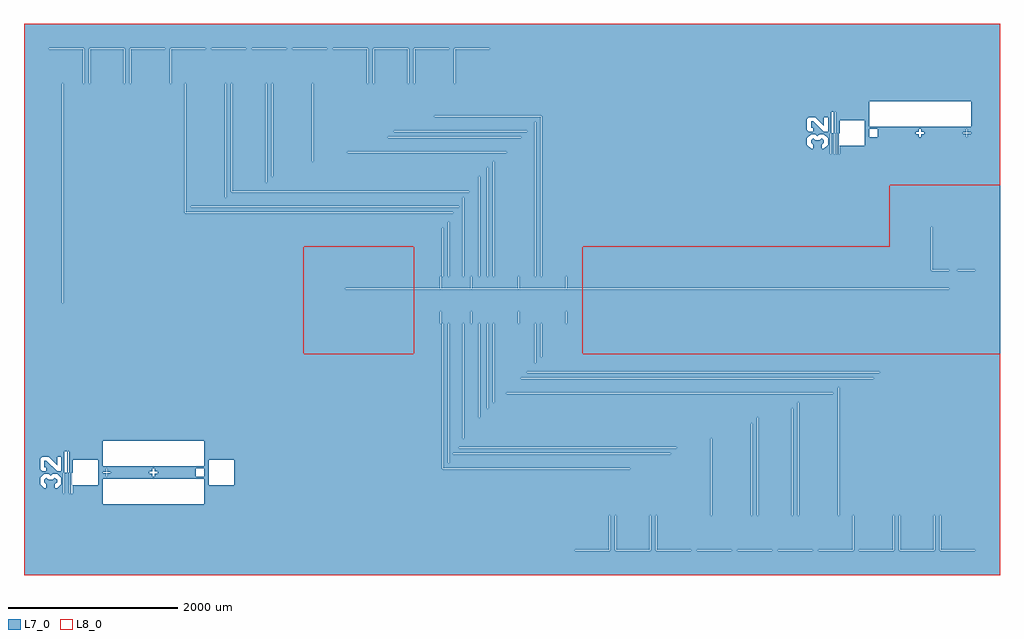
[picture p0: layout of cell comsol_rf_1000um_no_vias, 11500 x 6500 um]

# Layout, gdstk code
import gdstk
lib = gdstk.Library(unit=1e-6, precision=1e-09)
def P(c, l, *ps):  # polygons
    for p in ps: c.add(gdstk.Polygon(p, *l))
L7_0 = (7, 0)
L8_0 = (8, 0)

comsol_rf_1000um_no_vias = lib.new_cell('comsol_rf_1000um_no_vias')
P(comsol_rf_1000um_no_vias, L7_0, [(998,-2950),(998,-2550),(1167,-2550),(1167,-2168.998),(-681.13,-2168.998),(-681.13,-280.5),(-706.13,-280.5),(-706.13,-146.5),(-594.13,-146.5),(-594.13,-280.5),(-619.13,-280.5),(-619.13,-2106.998),(1229,-2106.998),(1229,-2550),(1398,-2550),(1398,-2950)],
  [(1476,-2950),(1476,-2550),(1645,-2550),(1645,-1991),(-561.13,-1991),(-561.13,-280.5),(-586.13,-280.5),(-586.13,-146.5),(-474.13,-146.5),(-474.13,-280.5),(-499.13,-280.5),(-499.13,-1929),(1707,-1929),(1707,-2550),(1876,-2550),(1876,-2950)],
  [(1954,-2950),(1954,-2550),(2123,-2550),(2123,-1813),(-441.13,-1813),(-441.13,-280.5),(-466.13,-280.5),(-466.13,-146.5),(-354.13,-146.5),(-354.13,-280.5),(-379.13,-280.5),(-379.13,-1751),(2185,-1751),(2185,-2550),(2354,-2550),(2354,-2950)],
  [(2432,-2950),(2432,-2550),(2601,-2550),(2601,-1635),(-321.13,-1635),(-321.13,-280.5),(-346.13,-280.5),(-346.13,-146.5),(-234.13,-146.5),(-234.13,-280.5),(-259.13,-280.5),(-259.13,-1573),(2663,-1573),(2663,-2550),(2832,-2550),(2832,-2950)],
  [(2910,-2950),(2910,-2550),(3079,-2550),(3079,-1457),(-201.13,-1457),(-201.13,-280.5),(-226.13,-280.5),(-226.13,-146.5),(-114.13,-146.5),(-114.13,-280.5),(-139.13,-280.5),(-139.13,-1395),(3141,-1395),(3141,-2550),(3310,-2550),(3310,-2950)],
  [(3388,-2950),(3388,-2550),(3557,-2550),(3557,-1279),(-31.13,-1279),(-31.13,-280.5),(-106.13,-280.5),(-106.13,-146.5),(105.87,-146.5),(105.87,-280.5),(30.87,-280.5),(30.87,-1217),(3619,-1217),(3619,-2550),(3788,-2550),(3788,-2950)],
  [(3866,-2950),(3866,-2550),(4035,-2550),(4035,-1101),(188.87,-1101),(188.87,-280.5),(113.87,-280.5),(113.87,-146.5),(325.87,-146.5),(325.87,-280.5),(250.87,-280.5),(250.87,-1039),(4097,-1039),(4097,-2550),(4266,-2550),(4266,-2950)],
  [(4344,-2950),(4344,-2550),(4513,-2550),(4513,-923),(358.87,-923),(358.87,-280.5),(333.87,-280.5),(333.87,-146.5),(445.87,-146.5),(445.87,-280.5),(420.87,-280.5),(420.87,-861),(4575,-861),(4575,-2550),(4744,-2550),(4744,-2950)],
  [(4822,-2950),(4822,-2550),(4991,-2550),(4991,-745),(528.87,-745),(528.87,-280.5),(453.87,-280.5),(453.87,-146.5),(665.87,-146.5),(665.87,-280.5),(590.87,-280.5),(590.87,-683),(5053,-683),(5053,-2550),(5222,-2550),(5222,-2950)],
  [(5300,-2950),(5300,-2550),(5469,-2550),(5469,-567),(748.87,-567),(748.87,-280.5),(673.87,-280.5),(673.87,-146.5),(885.87,-146.5),(885.87,-280.5),(810.87,-280.5),(810.87,-505),(5531,-505),(5531,-2550),(5700,-2550),(5700,-2950)],
  [(-1706.13,-138.5),(-1706.13,-46.5),(5404,-46.5),(5404,46.5),(-1706.13,46.5),(-1706.13,123.5),(5404,123.5),(5404,348.5),(5200,348.5),(5200,848.5),(5700,848.5),(5700,348.5),(5496,348.5),(5496,-138.5)],
  [(-5038.5,-38.5),(-5038.5,2550),(-5200,2550),(-5200,2950),(-4800,2950),(-4800,2550),(-4961.5,2550),(-4961.5,38.5),(5396,38.5),(5396,-38.5)],
  [(-706.13,131.5),(-706.13,265.5),(-681.13,265.5),(-681.13,670),(-4553,670),(-4553,2550),(-4722,2550),(-4722,2950),(-4322,2950),(-4322,2550),(-4491,2550),(-4491,732),(-619.13,732),(-619.13,265.5),(-594.13,265.5),(-594.13,131.5)],
  [(-586.13,131.5),(-586.13,265.5),(-561.13,265.5),(-561.13,848),(-4075,848),(-4075,2550),(-4244,2550),(-4244,2950),(-3844,2950),(-3844,2550),(-4013,2550),(-4013,910),(-499.13,910),(-499.13,265.5),(-474.13,265.5),(-474.13,131.5)],
  [(-466.13,131.5),(-466.13,265.5),(-441.13,265.5),(-441.13,1026),(-3597,1026),(-3597,2550),(-3766,2550),(-3766,2950),(-3366,2950),(-3366,2550),(-3535,2550),(-3535,1088),(-379.13,1088),(-379.13,265.5),(-354.13,265.5),(-354.13,131.5)],
  [(-346.13,131.5),(-346.13,265.5),(-321.13,265.5),(-321.13,1204),(-3119,1204),(-3119,2550),(-3288,2550),(-3288,2950),(-2888,2950),(-2888,2550),(-3057,2550),(-3057,1266),(-259.13,1266),(-259.13,265.5),(-234.13,265.5),(-234.13,131.5)],
  [(-226.13,131.5),(-226.13,265.5),(-201.13,265.5),(-201.13,1382),(-2641,1382),(-2641,2550),(-2810,2550),(-2810,2950),(-2410,2950),(-2410,2550),(-2579,2550),(-2579,1444),(-139.13,1444),(-139.13,265.5),(-114.13,265.5),(-114.13,131.5)],
  [(-106.13,131.5),(-106.13,265.5),(-31.13,265.5),(-31.13,1560),(-2163,1560),(-2163,2550),(-2332,2550),(-2332,2950),(-1932,2950),(-1932,2550),(-2101,2550),(-2101,1622),(30.87,1622),(30.87,265.5),(105.87,265.5),(105.87,131.5)],
  [(113.87,131.5),(113.87,265.5),(188.87,265.5),(188.87,1738),(-1685,1738),(-1685,2550),(-1854,2550),(-1854,2950),(-1454,2950),(-1454,2550),(-1623,2550),(-1623,1800),(250.87,1800),(250.87,265.5),(325.87,265.5),(325.87,131.5)],
  [(333.87,131.5),(333.87,265.5),(358.87,265.5),(358.87,1916),(-1207,1916),(-1207,2550),(-1376,2550),(-1376,2950),(-976,2950),(-976,2550),(-1145,2550),(-1145,1978),(420.87,1978),(420.87,265.5),(445.87,265.5),(445.87,131.5)],
  [(453.87,131.5),(453.87,265.5),(528.87,265.5),(528.87,2094),(-729,2094),(-729,2550),(-898,2550),(-898,2950),(-498,2950),(-498,2550),(-667,2550),(-667,2156),(590.87,2156),(590.87,265.5),(665.87,265.5),(665.87,131.5)],
  [(673.87,131.5),(673.87,265.5),(748.87,265.5),(748.87,2272),(-251,2272),(-251,2550),(-420,2550),(-420,2950),(-20,2950),(-20,2550),(-189,2550),(-189,2334),(810.87,2334),(810.87,265.5),(885.87,265.5),(885.87,131.5)],
  [(-5500,-3250),(-5500,-2051),(-5160,-2051),(-5185,-2076),(-5210,-2051),(-5260,-2051),(-5310,-2101),(-5310,-2176),(-5260,-2226),(-5235,-2226),(-5235,-2176),(-5260,-2151),(-5260,-2126),(-5235,-2101),(-5210,-2126),(-5160,-2126),(-5135,-2101),(-5110,-2126),(-5110,-2151),(-5135,-2176),(-5135,-2226),(-5110,-2226),(-5060,-2176),(-5060,-2101),(-5110,-2051),(-5500,-2051),(-5500,-2038.5),(-5035,-2038.5),(-5035,-2288.5),(-5025,-2288.5),(-5025,-2038.5),(-5500,-2038.5),(-5500,-1851),(-5110,-1851),(-5110,-1951),(-5210,-1851),(-5285,-1851),(-5310,-1876),(-5310,-2001),(-5285,-2026),(-5235,-2026),(-5235,-1976),(-5260,-1976),(-5260,-1901),(-5235,-1901),(-5110,-2026),(-5060,-2026),(-5060,-1851),(-5500,-1851),(-5500,-1788.5),(-5025,-1788.5),(-5025,-2038.5),(-4993,-2038.5),(-4993,-2288.5),(-4983,-2288.5),(-4983,-2038.5),(-4993,-2038.5),(-4993,-1788.5),(-4983,-1788.5),(-4983,-2038.5),(-4967,-2038.5),(-4967,-2288.5),(-4957,-2288.5),(-4957,-2038.5),(-4967,-2038.5),(-4967,-1788.5),(-4957,-1788.5),(-4957,-2038.5),(-4949,-2038.5),(-4949,-2288.5),(-4939,-2288.5),(-4939,-2038.5),(-4949,-2038.5),(-4949,-1788.5),(-4939,-1788.5),(-4939,-2038.5),(-4935,-2038.5),(-4935,-1888.5),(-4925,-1888.5),(-4925,-2038.5),(-4935,-2038.5),(-4935,-2288.5),(-4925,-2288.5),(-4925,-2188.5),(-4625,-2188.5),(-4625,-2113.5),(-4575,-2113.5),(-4575,-2413.5),(-3375,-2413.5),(-3375,-2113.5),(-4625,-2113.5),(-4625,-1988.5),(-4532,-1988.5),(-4532,-2031.5),(-4575,-2031.5),(-4575,-2045.5),(-4532,-2045.5),(-4532,-2088.5),(-4518,-2088.5),(-4518,-2045.5),(-4475,-2045.5),(-4475,-2031.5),(-4518,-2031.5),(-4518,-1988.5),(-3989,-1988.5),(-3989,-2024.5),(-4025,-2024.5),(-4025,-2052.5),(-3989,-2052.5),(-3989,-2088.5),(-3961,-2088.5),(-3961,-2052.5),(-3925,-2052.5),(-3925,-2024.5),(-3961,-2024.5),(-3961,-1988.5),(-3475,-1988.5),(-3475,-2088.5),(-3375,-2088.5),(-3375,-1988.5),(-4625,-1988.5),(-4625,-1888.5),(-4935,-1888.5),(-4935,-1788.5),(-5500,-1788.5),(-5500,-1663.5),(-4575,-1663.5),(-4575,-1963.5),(-3375,-1963.5),(-3375,-1888.5),(-3325,-1888.5),(-3325,-2188.5),(-3025,-2188.5),(-3025,-1888.5),(-3375,-1888.5),(-3375,-1663.5),(-5500,-1663.5),(-5500,2958),(-428,2958),(-428,2542),(-259,2542),(-259,2264),(740.87,2264),(740.87,273.5),(598.87,273.5),(598.87,2164),(-659,2164),(-659,2542),(-490,2542),(-490,2958),(-906,2958),(-906,2542),(-737,2542),(-737,2086),(520.87,2086),(520.87,273.5),(428.87,273.5),(428.87,1986),(-1137,1986),(-1137,2542),(-968,2542),(-968,2958),(-1384,2958),(-1384,2542),(-1215,2542),(-1215,1908),(350.87,1908),(350.87,273.5),(258.87,273.5),(258.87,1808),(-1615,1808),(-1615,2542),(-1446,2542),(-1446,2958),(-1862,2958),(-1862,2542),(-1693,2542),(-1693,1730),(180.87,1730),(180.87,273.5),(38.87,273.5),(38.87,1630),(-2093,1630),(-2093,2542),(-1924,2542),(-1924,2958),(-2340,2958),(-2340,2542),(-2171,2542),(-2171,1552),(-39.13,1552),(-39.13,273.5),(-131.13,273.5),(-131.13,1452),(-2571,1452),(-2571,2542),(-2402,2542),(-2402,2958),(-2818,2958),(-2818,2542),(-2649,2542),(-2649,1374),(-209.13,1374),(-209.13,273.5),(-251.13,273.5),(-251.13,1274),(-3049,1274),(-3049,2542),(-2880,2542),(-2880,2958),(-3296,2958),(-3296,2542),(-3127,2542),(-3127,1196),(-329.13,1196),(-329.13,273.5),(-371.13,273.5),(-371.13,1096),(-3527,1096),(-3527,2542),(-3358,2542),(-3358,2958),(-3774,2958),(-3774,2542),(-3605,2542),(-3605,1018),(-449.13,1018),(-449.13,273.5),(-491.13,273.5),(-491.13,918),(-4005,918),(-4005,2542),(-3836,2542),(-3836,2958),(-4252,2958),(-4252,2542),(-4083,2542),(-4083,840),(-569.13,840),(-569.13,273.5),(-611.13,273.5),(-611.13,740),(-4483,740),(-4483,2542),(-4314,2542),(-4314,2958),(-4730,2958),(-4730,2542),(-4561,2542),(-4561,662),(-689.13,662),(-689.13,273.5),(-714.13,273.5),(-714.13,131.5),(-1714.13,131.5),(-1714.13,46.5),(-4953.5,46.5),(-4953.5,2542),(-4792,2542),(-4792,2958),(-5208,2958),(-5208,2542),(-5046.5,2542),(-5046.5,-46.5),(-1714.13,-46.5),(-1714.13,-146.5),(-714.13,-146.5),(-714.13,-288.5),(-689.13,-288.5),(-689.13,-2176.998),(1159,-2176.998),(1159,-2542),(990,-2542),(990,-2958),(1406,-2958),(1406,-2542),(1237,-2542),(1237,-2098.998),(-611.13,-2098.998),(-611.13,-288.5),(-569.13,-288.5),(-569.13,-1999),(1637,-1999),(1637,-2542),(1468,-2542),(1468,-2958),(1884,-2958),(1884,-2542),(1715,-2542),(1715,-1921),(-491.13,-1921),(-491.13,-288.5),(-449.13,-288.5),(-449.13,-1821),(2115,-1821),(2115,-2542),(1946,-2542),(1946,-2958),(2362,-2958),(2362,-2542),(2193,-2542),(2193,-1743),(-371.13,-1743),(-371.13,-288.5),(-329.13,-288.5),(-329.13,-1643),(2593,-1643),(2593,-2542),(2424,-2542),(2424,-2958),(2840,-2958),(2840,-2542),(2671,-2542),(2671,-1565),(-251.13,-1565),(-251.13,-288.5),(-209.13,-288.5),(-209.13,-1465),(3071,-1465),(3071,-2542),(2902,-2542),(2902,-2958),(3318,-2958),(3318,-2542),(3149,-2542),(3149,-1387),(-131.13,-1387),(-131.13,-288.5),(-39.13,-288.5),(-39.13,-1287),(3549,-1287),(3549,-2542),(3380,-2542),(3380,-2958),(3796,-2958),(3796,-2542),(3627,-2542),(3627,-1209),(38.87,-1209),(38.87,-288.5),(180.87,-288.5),(180.87,-1109),(4027,-1109),(4027,-2542),(3858,-2542),(3858,-2958),(4274,-2958),(4274,-2542),(4105,-2542),(4105,-1031),(258.87,-1031),(258.87,-288.5),(350.87,-288.5),(350.87,-931),(4505,-931),(4505,-2542),(4336,-2542),(4336,-2958),(4752,-2958),(4752,-2542),(4583,-2542),(4583,-853),(428.87,-853),(428.87,-288.5),(520.87,-288.5),(520.87,-753),(4983,-753),(4983,-2542),(4814,-2542),(4814,-2958),(5230,-2958),(5230,-2542),(5061,-2542),(5061,-675),(598.87,-675),(598.87,-288.5),(740.87,-288.5),(740.87,-575),(5461,-575),(5461,-2542),(5292,-2542),(5292,-2958),(5708,-2958),(5708,-2542),(5539,-2542),(5539,-497),(818.87,-497),(818.87,-288.5),(893.87,-288.5),(893.87,-146.5),(5504,-146.5),(5504,340.5),(5708,340.5),(5708,856.5),(5192,856.5),(5192,340.5),(5396,340.5),(5396,131.5),(893.87,131.5),(893.87,273.5),(818.87,273.5),(818.87,1949),(3874,1949),(3849,1924),(3824,1949),(3774,1949),(3724,1899),(3724,1824),(3774,1774),(3799,1774),(3799,1824),(3774,1849),(3774,1874),(3799,1899),(3824,1874),(3874,1874),(3899,1899),(3924,1874),(3924,1849),(3899,1824),(3899,1774),(3924,1774),(3974,1824),(3974,1899),(3924,1949),(818.87,1949),(818.87,1961.5),(3999,1961.5),(3999,1711.5),(4009,1711.5),(4009,1961.5),(818.87,1961.5),(818.87,2149),(3924,2149),(3924,2049),(3824,2149),(3749,2149),(3724,2124),(3724,1999),(3749,1974),(3799,1974),(3799,2024),(3774,2024),(3774,2099),(3799,2099),(3924,1974),(3974,1974),(3974,2149),(818.87,2149),(818.87,2211.5),(4009,2211.5),(4009,1961.5),(4041,1961.5),(4041,1711.5),(4051,1711.5),(4051,1961.5),(4041,1961.5),(4041,2211.5),(4051,2211.5),(4051,1961.5),(4067,1961.5),(4067,1711.5),(4077,1711.5),(4077,1961.5),(4067,1961.5),(4067,2211.5),(4077,2211.5),(4077,1961.5),(4085,1961.5),(4085,1711.5),(4095,1711.5),(4095,1961.5),(4085,1961.5),(4085,2211.5),(4095,2211.5),(4095,1961.5),(4099,1961.5),(4099,2111.5),(4109,2111.5),(4109,1961.5),(4099,1961.5),(4099,1711.5),(4109,1711.5),(4109,1811.5),(4409,1811.5),(4409,2011.5),(4459,2011.5),(4459,1911.5),(4559,1911.5),(4559,2011.5),(5045,2011.5),(5045,1975.5),(5009,1975.5),(5009,1947.5),(5045,1947.5),(5045,1911.5),(5073,1911.5),(5073,1947.5),(5109,1947.5),(5109,1975.5),(5073,1975.5),(5073,2011.5),(5602,2011.5),(5602,1968.5),(5559,1968.5),(5559,1954.5),(5602,1954.5),(5602,1911.5),(5616,1911.5),(5616,1954.5),(5659,1954.5),(5659,1968.5),(5616,1968.5),(5616,2011.5),(4409,2011.5),(4409,2111.5),(4099,2111.5),(4099,2211.5),(818.87,2211.5),(818.87,2336.5),(4459,2336.5),(4459,2036.5),(5659,2036.5),(5659,2336.5),(818.87,2336.5),(818.87,2342),(-181,2342),(-181,2542),(-12,2542),(-12,2958),(-5500,2958),(-5500,3250),(6000,3250),(6000,-3250)])
P(comsol_rf_1000um_no_vias, L8_0, [(-5500,-3250),(-5500,623.5),(-2206.13,623.5),(-2206.13,-638.5),(-906.13,-638.5),(-906.13,623.5),(-5500,623.5),(-5500,3250),(6000,3250),(6000,1348.5),(4700,1348.5),(4700,623.5),(1085.87,623.5),(1085.87,-638.5),(6000,-638.5),(6000,-3250)])

lib.write_gds('comsol_rf_1000um_no_vias.gds')
